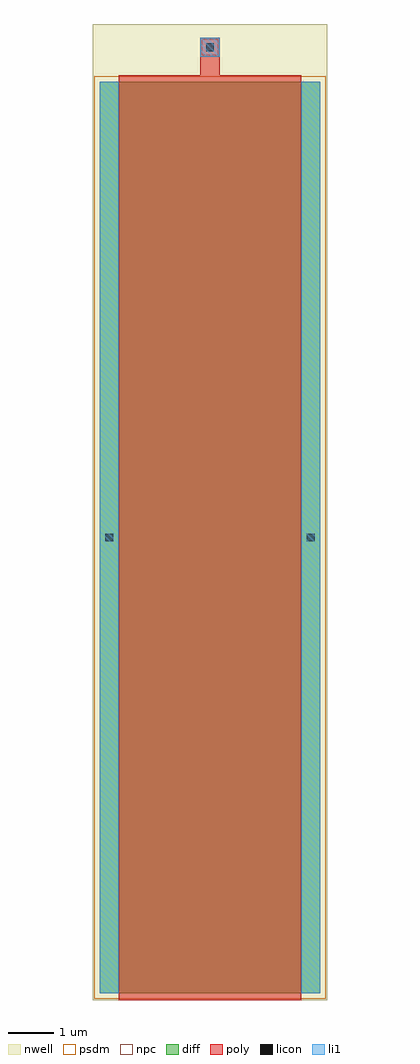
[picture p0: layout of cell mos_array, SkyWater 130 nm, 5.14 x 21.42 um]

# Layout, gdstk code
import gdstk
lib = gdstk.Library(unit=1e-6, precision=1e-09)
def R(c, l, rs):  # rectangles x0, y0, x1, y1
    for r in rs: c.add(gdstk.rectangle(r[:2], r[2:], *l))
nwell = (64, 20)
diff = (65, 20)
poly = (66, 20)
licon = (66, 44)
li1 = (67, 20)
psdm = (94, 20)
npc = (95, 20)

mos_array = lib.new_cell('mos_array')
R(mos_array, nwell, [(-0.15,-0.15,4.99,21.27)])
R(mos_array, diff, [(0,0,4.84,20)])
R(mos_array, poly, [(0.42,-0.15,4.42,20), (0.42,20,4.42,20.15), (0.42,20,4.42,20.15), (2.21,20.15,2.63,20.97)])
R(mos_array, licon, [(0.125,9.915,0.295,10.085), (4.545,9.915,4.715,10.085), (2.335,20.675,2.505,20.845)])
R(mos_array, li1, [(0,0,0.42,20), (4.42,0,4.84,20), (2.21,20.55,2.63,20.97)])
R(mos_array, psdm, [(-0.125,-0.125,4.965,20.125)])
R(mos_array, npc, [(2.24,20.58,2.6,20.94)])

lib.write_gds('mos_array.gds')
